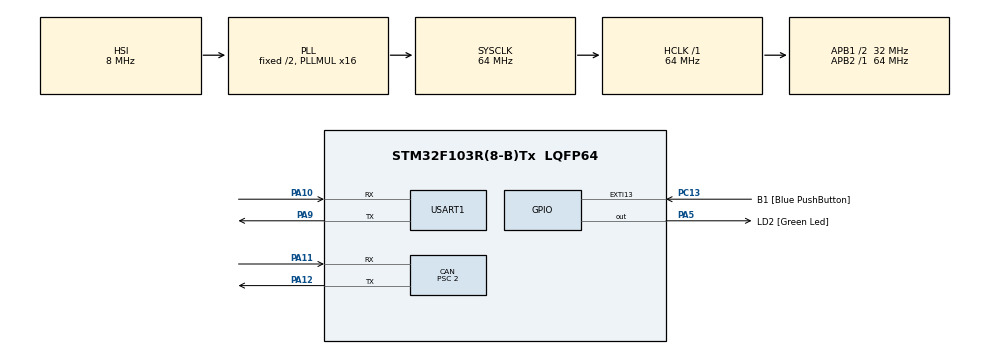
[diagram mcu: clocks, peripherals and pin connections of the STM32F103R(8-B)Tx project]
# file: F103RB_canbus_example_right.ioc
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Mcu.Family=STM32F1
PA2.GPIO_PuPd=GPIO_NOPULL
NVIC.DMA1_Channel5_IRQn=true\:0\:0\:false\:false\:true\:false\:true
Dma.USART1_RX.0.PeriphDataAlignment=DMA_PDATAALIGN_BYTE
PA10.Mode=Asynchronous
CAN.CalculateBaudRate=1000000
PA14.GPIO_Label=TCK
PA3.GPIO_PuPd=GPIO_NOPULL
PA2.GPIO_Speed=GPIO_SPEED_FREQ_LOW
PC13-TAMPER-RTC.Signal=GPXTI13
PA11.Mode=CAN_Activate
PD0-OSC_IN.Signal=RCC_OSC_IN
RCC.APB1CLKDivider=RCC_HCLK_DIV2
PC14-OSC32_IN.Signal=RCC_OSC32_IN
PA3.GPIO_Speed=GPIO_SPEED_FREQ_LOW
CAN.CalculateTimeBit=1000.00
RCC.SYSCLKSource=RCC_SYSCLKSOURCE_PLLCLK
ProjectManager.StackSize=0x400
PD1-OSC_OUT.Signal=RCC_OSC_OUT
PA13.Signal=SYS_JTMS-SWDIO
PA9.Mode=Asynchronous
PA12.Signal=CAN_TX
CAN.BS2=CAN_BS2_7TQ
CAN.Prescaler=2
CAN.BS1=CAN_BS1_8TQ
ProjectManager.TargetToolchain=STM32CubeIDE
PA3.GPIO_Mode=GPIO_MODE_AF_PP
Dma.USART1_RX.0.Direction=DMA_PERIPH_TO_MEMORY
RCC.HCLKFreq_Value=64000000
RCC.APB2TimFreq_Value=64000000
PA9.Signal=USART1_TX
RCC.USBFreq_Value=64000000
PC15-OSC32_OUT.Signal=RCC_OSC32_OUT
RCC.AHBFreq_Value=64000000
Dma.USART1_RX.0.PeriphInc=DMA_PINC_DISABLE
Dma.USART1_RX.0.Priority=DMA_PRIORITY_LOW
NVIC.EXTI15_10_IRQn=true\:0\:0\:false\:false\:true\:true\:true
PA5.Signal=GPIO_Output
board=NUCLEO-F103RB
PC13-TAMPER-RTC.GPIO_ModeDefaultEXTI=GPIO_MODE_IT_FALLING
PC13-TAMPER-RTC.GPIO_Label=B1 [Blue PushButton]
RCC.PLLMUL=RCC_PLL_MUL16
RCC.APB2Freq_Value=64000000
PA5.GPIO_ModeDefaultOutputPP=GPIO_MODE_OUTPUT_PP
PA14.Mode=Serial_Wire
PA5.GPIO_PuPd=GPIO_NOPULL
NVIC.USB_LP_CAN1_RX0_IRQn=true\:0\:0\:false\:false\:true\:true\:true
Dma.USART1_RX.0.MemDataAlignment=DMA_MDATAALIGN_BYTE
Dma.USART1_RX.0.MemInc=DMA_MINC_ENABLE
PA13.Mode=Serial_Wire
Mcu.Name=STM32F103R(8-B)Tx
CAN.CalculateTimeQuantum=62.5
PA2.Signal=USART2_TX
PA13.GPIO_Label=TMS
PB3.Signal=SYS_JTDO-TRACESWO
RCC.SYSCLKFreq_VALUE=64000000
Mcu.Package=LQFP64
PA12.Mode=CAN_Activate
PA5.GPIO_Label=LD2 [Green Led]
PC13-TAMPER-RTC.GPIO_PuPd=GPIO_NOPULL
USART1.VirtualMode=VM_ASYNC
PA2.GPIO_Label=USART_TX
PA11.Signal=CAN_RX
PA14.Signal=SYS_JTCK-SWCLK
PA10.Signal=USART1_RX
ProjectManager.HeapSize=0x200
PA5.GPIO_Speed=GPIO_SPEED_FREQ_LOW
NVIC.PriorityGroup=NVIC_PRIORITYGROUP_4
RCC.APB1TimFreq_Value=64000000
Dma.USART1_RX.0.Mode=DMA_CIRCULAR
Dma.Request0=USART1_RX
RCC.APB1Freq_Value=32000000
Dma.USART1_RX.0.Instance=DMA1_Channel5
PA3.GPIO_Label=USART_RX
PA3.Signal=USART2_RX
PA2.GPIO_Mode=GPIO_MODE_AF_PP
PB3.GPIO_Label=SWO

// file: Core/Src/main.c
/* USER CODE BEGIN Header */
/**
  ******************************************************************************
  * @file           : main.c
  * @brief          : Main program body
  ******************************************************************************
  * @attention
  *
  * <h2><center>&copy; Copyright (c) 2022 STMicroelectronics.
  * All rights reserved.</center></h2>
  *
  * This software component is licensed by ST under BSD 3-Clause license,
  * the "License"; You may not use this file except in compliance with the
  * License. You may obtain a copy of the License at:
  *                        opensource.org/licenses/BSD-3-Clause
  *
  ******************************************************************************
  */
/* USER CODE END Header */
#include "main.h"

/* USER CODE BEGIN PD */
#define LEFT_SIDE_NUCLEO 0
#if ( LEFT_SIDE_NUCLEO == 1)
    // FILTER_ID_LOW is the filter used, for catching packets from the other device
    #define FILTER_ID_LOW   0x104
    // TRANSMITER_STANDARD_ID - the standard ID of this device.
    #define TRANSMITER_STANDARD_ID 0x103
#else
    // FILTER_ID_LOW is the filter used, for catching packets from the other device
    #define FILTER_ID_LOW   0x103
    // TRANSMITER_STANDARD_ID - the standard ID of this device.
    #define TRANSMITER_STANDARD_ID 0x104
#endif

/* USER CODE END PD */

CAN_HandleTypeDef hcan;

UART_HandleTypeDef huart1;
DMA_HandleTypeDef hdma_usart1_rx;

/* USER CODE BEGIN PV */

uint8_t Uart_DMA_in_buffer[4];

/* USER CODE END PV */

void SystemClock_Config(void);
static void MX_GPIO_Init(void);
static void MX_DMA_Init(void);
static void MX_CAN_Init(void);
static void MX_USART1_UART_Init(void);

/* USER CODE BEGIN 0 */
CAN_TxHeaderTypeDef   TxHeader;
uint8_t               TxData[8];

CAN_RxHeaderTypeDef   RxHeader;
uint8_t               RxData[8];

uint32_t              TxMailbox;
int datacheck = 0;
uint8_t     CAN_TxData[8];
uint8_t     CAN_RxData[8];

uint8_t     UART_TxData[32];
uint8_t     UART_RxData[32];

uint8_t count;
uint32_t led_timer;
uint8_t led = 0;

void led_off()
{
//    HAL_GPIO_WritePin(LED_PC_13_GPIO_Port, LED_PC_13_Pin,1);
    HAL_GPIO_WritePin(LD2_GPIO_Port, LD2_Pin,0);
    led = 0;
}

void led_on()
{
//    HAL_GPIO_WritePin(LED_PC_13_GPIO_Port, LED_PC_13_Pin,0);
    HAL_GPIO_WritePin(LD2_GPIO_Port, LD2_Pin,1);
    led = 1;
}

void HAL_CAN_RxFifo0MsgPendingCallback(CAN_HandleTypeDef *hcan)
{
    uint32_t in_len;
    uint32_t out_len=0;
    uint8_t lf_cr[2] = {0xa,0xd};

    count++;
    HAL_CAN_GetRxMessage(hcan, CAN_RX_FIFO0, &RxHeader, CAN_RxData);
//    HAL_GPIO_TogglePin(LED_PC_13_GPIO_Port, LED_PC_13_Pin);
    in_len = RxHeader.DLC;
    out_len = in_len;
    for(int i=0;i<in_len; i++)
    {
        if(CAN_RxData[i] >= 0x20)
        {
            UART_TxData[i] = CAN_RxData[i];
        }
        else
        {
            UART_TxData[i] = CAN_RxData[i] + 0x20;
        }
    }
    HAL_UART_Transmit(&huart1, UART_TxData, out_len, 10);
    HAL_UART_Transmit(&huart1, lf_cr, 2, 10);

    led_on();
    led_timer = HAL_GetTick();
}

void HAL_GPIO_EXTI_Callback(uint16_t GPIO_Pin)
{
    if (GPIO_Pin == GPIO_PIN_13)
    {
        TxData[0] = 100; // 100ms
        TxData[1] = 10;  // repeat 10 times.

        uint8_t temp_uart_tx[] = "blue button this side\r\n";
        HAL_UART_Transmit(&huart1, temp_uart_tx, sizeof(temp_uart_tx), 10);

        HAL_CAN_AddTxMessage(&hcan, &TxHeader, TxData, &TxMailbox);
    }
}

//void HAL_CAN_RxFifo0MsgPendingCallback(CAN_HandleTypeDef *hcan)
//{
//
//}
/*
void HAL_CAN_RxFifo0MsgPendingCallback(CAN_HandleTypeDef *hcan)
{
  if (HAL_CAN_GetRxMessage(hcan, CAN_RX_FIFO0, &RxHeader, RxData) != HAL_OK)
  {
    Error_Handler();
  }

  //  if ((RxHeader.StdId == 0x103))
  if ((RxHeader.DLC == 2))
  {
      datacheck = 1;
  }
}
*/

/* USER CODE END 0 */

int main(void)
{

  /* MCU Configuration--------------------------------------------------------*/

  /* Reset of all peripherals, Initializes the Flash interface and the Systick. */
  HAL_Init();

  /* Configure the system clock */
  SystemClock_Config();

  /* Initialize all configured peripherals */
  MX_GPIO_Init();
  MX_DMA_Init();
  MX_CAN_Init();
  MX_USART1_UART_Init();
  /* USER CODE BEGIN 2 */

  HAL_CAN_Start(&hcan);

  // Activate the notification
  HAL_CAN_ActivateNotification(&hcan, CAN_IT_RX_FIFO0_MSG_PENDING);

  TxHeader.DLC = 1;
  TxHeader.ExtId = 0;
  TxHeader.IDE = CAN_ID_STD;
  TxHeader.RTR = CAN_RTR_DATA;
  TxHeader.StdId = TRANSMITER_STANDARD_ID; // this ID can be 11bit wide. (for left = 0x103)
  TxHeader.TransmitGlobalTime = DISABLE;

  CAN_TxData[0] = 0x73; // = 's' , for start.
  TxHeader.DLC = 2;
  HAL_CAN_AddTxMessage(&hcan, &TxHeader, CAN_TxData, &TxMailbox);
  HAL_UART_Receive_DMA(&huart1, Uart_DMA_in_buffer, 1);//

  /* USER CODE END 2 */

  /* Infinite loop */
  /* USER CODE BEGIN WHILE */
  uint32_t main_tickstart = HAL_GetTick();
#if ( LEFT_SIDE_NUCLEO == 1)
  uint8_t temp_uart_tx[] = "Hello CAN left side\r\n";
#else
  uint8_t temp_uart_tx[] = "Hello CAN right side\r\n";

#endif
  HAL_UART_Transmit(&huart1, temp_uart_tx, sizeof(temp_uart_tx), 10);

  while (1)
  {
      if (datacheck)
      {
          for(int i=0; i< RxData[1]; i++)
          {
//              HAL_GPIO_WritePin(GPIOA, GPIO_PIN_5, GPIO_PIN_SET);
              HAL_GPIO_TogglePin(GPIOA, GPIO_PIN_5);
              HAL_Delay(RxData[0]);
          }
          datacheck = 0;
      }
    /* USER CODE END WHILE */

    /* USER CODE BEGIN 3 */
    if( (HAL_GetTick() - main_tickstart) > 1000 ) // do every 1000ms
    {
//        HAL_CAN_AddTxMessage(&hcan, &TxHeader, CAN_TxData, &TxMailbox);
//        CAN_TxData[0] += 1;
        main_tickstart = HAL_GetTick();
        //HAL_UART_Transmit(&huart1, temp_uart_tx, sizeof(temp_uart_tx), 10);
    }
    if( led && (HAL_GetTick() - led_timer > 100))
    {
//        HAL_GPIO_WritePin(LED_PC_13_GPIO_Port, LED_PC_13_Pin,0);
        led_off();
    }

//    HAL_Delay(1000);
  }
  /* USER CODE END 3 */
}

void SystemClock_Config(void)
{
  RCC_OscInitTypeDef RCC_OscInitStruct = {0};
  RCC_ClkInitTypeDef RCC_ClkInitStruct = {0};

  /** Initializes the RCC Oscillators according to the specified parameters
  * in the RCC_OscInitTypeDef structure.
  */
  RCC_OscInitStruct.OscillatorType = RCC_OSCILLATORTYPE_HSI;
  RCC_OscInitStruct.HSIState = RCC_HSI_ON;
  RCC_OscInitStruct.HSICalibrationValue = RCC_HSICALIBRATION_DEFAULT;
  RCC_OscInitStruct.PLL.PLLState = RCC_PLL_ON;
  RCC_OscInitStruct.PLL.PLLSource = RCC_PLLSOURCE_HSI_DIV2;
  RCC_OscInitStruct.PLL.PLLMUL = RCC_PLL_MUL16;
  if (HAL_RCC_OscConfig(&RCC_OscInitStruct) != HAL_OK)
  {
    Error_Handler();
  }
  /** Initializes the CPU, AHB and APB buses clocks
  */
  RCC_ClkInitStruct.ClockType = RCC_CLOCKTYPE_HCLK|RCC_CLOCKTYPE_SYSCLK
                              |RCC_CLOCKTYPE_PCLK1|RCC_CLOCKTYPE_PCLK2;
  RCC_ClkInitStruct.SYSCLKSource = RCC_SYSCLKSOURCE_PLLCLK;
  RCC_ClkInitStruct.AHBCLKDivider = RCC_SYSCLK_DIV1;
  RCC_ClkInitStruct.APB1CLKDivider = RCC_HCLK_DIV2;
  RCC_ClkInitStruct.APB2CLKDivider = RCC_HCLK_DIV1;

  if (HAL_RCC_ClockConfig(&RCC_ClkInitStruct, FLASH_LATENCY_2) != HAL_OK)
  {
    Error_Handler();
  }
}

static void MX_CAN_Init(void)
{

  hcan.Instance = CAN1;
  hcan.Init.Prescaler = 2;
  hcan.Init.Mode = CAN_MODE_NORMAL;
  hcan.Init.SyncJumpWidth = CAN_SJW_1TQ;
  hcan.Init.TimeSeg1 = CAN_BS1_8TQ;
  hcan.Init.TimeSeg2 = CAN_BS2_7TQ;
  hcan.Init.TimeTriggeredMode = DISABLE;
  hcan.Init.AutoBusOff = DISABLE;
  hcan.Init.AutoWakeUp = DISABLE;
  hcan.Init.AutoRetransmission = DISABLE;
  hcan.Init.ReceiveFifoLocked = DISABLE;
  hcan.Init.TransmitFifoPriority = DISABLE;
  if (HAL_CAN_Init(&hcan) != HAL_OK)
  {
    Error_Handler();
  }
  /* USER CODE BEGIN CAN_Init 2 */
  CAN_FilterTypeDef canfilterconfig;

#if ( LEFT_SIDE_NUCLEO == 1)
  canfilterconfig.FilterActivation = CAN_FILTER_ENABLE;
  canfilterconfig.FilterBank = 10;  // which filter bank to use from the assigned ones
  canfilterconfig.FilterFIFOAssignment = CAN_RX_FIFO0;
  canfilterconfig.FilterIdHigh = 0;
  canfilterconfig.FilterIdLow = FILTER_ID_LOW<<5;
  canfilterconfig.FilterMaskIdHigh = 0;
  canfilterconfig.FilterMaskIdLow = FILTER_ID_LOW<<5;
  canfilterconfig.FilterMode = CAN_FILTERMODE_IDMASK;
  canfilterconfig.FilterScale = CAN_FILTERSCALE_32BIT;
  canfilterconfig.SlaveStartFilterBank = 0;  // how many filters to assign to the CAN1 (master can)
#else
  canfilterconfig.FilterActivation = CAN_FILTER_ENABLE;
  canfilterconfig.FilterBank = 10;  // which filter bank to use from the assigned ones
  canfilterconfig.FilterFIFOAssignment = CAN_RX_FIFO0;
  canfilterconfig.FilterIdHigh = 0;
  canfilterconfig.FilterIdLow = FILTER_ID_LOW<<5;
  canfilterconfig.FilterMaskIdHigh = 0;
  canfilterconfig.FilterMaskIdLow = FILTER_ID_LOW<<5;
  canfilterconfig.FilterMode = CAN_FILTERMODE_IDMASK;
  canfilterconfig.FilterScale = CAN_FILTERSCALE_32BIT;
  canfilterconfig.SlaveStartFilterBank = 0;  // how many filters to assign to the CAN1 (master can)
#endif
/*
#if ( LEFT_SIDE_NUCLEO == 1)
   canfilterconfig.FilterActivation = CAN_FILTER_ENABLE;
   canfilterconfig.FilterBank = 10;  // which filter bank to use from the assigned ones
   canfilterconfig.FilterFIFOAssignment = CAN_FILTER_FIFO0;
   canfilterconfig.FilterIdHigh = 0x104<<5; // 0x104  - this ID should be assigned to the other side.
   canfilterconfig.FilterIdLow = 0;
   canfilterconfig.FilterMaskIdHigh = 0x104<<5;
   canfilterconfig.FilterMaskIdLow = 0x0000;
   canfilterconfig.FilterMode = CAN_FILTERMODE_IDMASK;
   canfilterconfig.FilterScale = CAN_FILTERSCALE_32BIT;
   canfilterconfig.SlaveStartFilterBank = 0;  // how many filters to assign to the CAN
#else
    canfilterconfig.FilterActivation = CAN_FILTER_ENABLE;
    canfilterconfig.FilterBank = 10;  // which filter bank to use from the assigned ones
    canfilterconfig.FilterFIFOAssignment = CAN_FILTER_FIFO0;
    canfilterconfig.FilterIdHigh = 0x103<<5; // 0x104  - this ID should be assigned to the other side.
    canfilterconfig.FilterIdLow = 0;
    canfilterconfig.FilterMaskIdHigh = 0x103<<5;
    canfilterconfig.FilterMaskIdLow = 0x0000;
    canfilterconfig.FilterMode = CAN_FILTERMODE_IDMASK;
    canfilterconfig.FilterScale = CAN_FILTERSCALE_32BIT;
    canfilterconfig.SlaveStartFilterBank = 0;  // how many filters to assign to the CAN
#endif
*/
   HAL_CAN_ConfigFilter(&hcan, &canfilterconfig);
  /* USER CODE END CAN_Init 2 */

}

static void MX_USART1_UART_Init(void)
{

  huart1.Instance = USART1;
  huart1.Init.BaudRate = 115200;
  huart1.Init.WordLength = UART_WORDLENGTH_8B;
  huart1.Init.StopBits = UART_STOPBITS_1;
  huart1.Init.Parity = UART_PARITY_NONE;
  huart1.Init.Mode = UART_MODE_TX_RX;
  huart1.Init.HwFlowCtl = UART_HWCONTROL_NONE;
  huart1.Init.OverSampling = UART_OVERSAMPLING_16;
  if (HAL_UART_Init(&huart1) != HAL_OK)
  {
    Error_Handler();
  }

}

static void MX_DMA_Init(void)
{

  /* DMA controller clock enable */
  __HAL_RCC_DMA1_CLK_ENABLE();

  /* DMA interrupt init */
  /* DMA1_Channel5_IRQn interrupt configuration */
  HAL_NVIC_SetPriority(DMA1_Channel5_IRQn, 0, 0);
  HAL_NVIC_EnableIRQ(DMA1_Channel5_IRQn);

}

static void MX_GPIO_Init(void)
{
  GPIO_InitTypeDef GPIO_InitStruct = {0};

  /* GPIO Ports Clock Enable */
  __HAL_RCC_GPIOC_CLK_ENABLE();
  __HAL_RCC_GPIOD_CLK_ENABLE();
  __HAL_RCC_GPIOA_CLK_ENABLE();
  __HAL_RCC_GPIOB_CLK_ENABLE();

  /*Configure GPIO pin Output Level */
  HAL_GPIO_WritePin(LD2_GPIO_Port, LD2_Pin, GPIO_PIN_RESET);

  /*Configure GPIO pin : B1_Pin */
  GPIO_InitStruct.Pin = B1_Pin;
  GPIO_InitStruct.Mode = GPIO_MODE_IT_FALLING;
  GPIO_InitStruct.Pull = GPIO_NOPULL;
  HAL_GPIO_Init(B1_GPIO_Port, &GPIO_InitStruct);

  /*Configure GPIO pins : USART_TX_Pin USART_RX_Pin */
  GPIO_InitStruct.Pin = USART_TX_Pin|USART_RX_Pin;
  GPIO_InitStruct.Mode = GPIO_MODE_AF_PP;
  GPIO_InitStruct.Speed = GPIO_SPEED_FREQ_LOW;
  HAL_GPIO_Init(GPIOA, &GPIO_InitStruct);

  /*Configure GPIO pin : LD2_Pin */
  GPIO_InitStruct.Pin = LD2_Pin;
  GPIO_InitStruct.Mode = GPIO_MODE_OUTPUT_PP;
  GPIO_InitStruct.Pull = GPIO_NOPULL;
  GPIO_InitStruct.Speed = GPIO_SPEED_FREQ_LOW;
  HAL_GPIO_Init(LD2_GPIO_Port, &GPIO_InitStruct);

  /* EXTI interrupt init*/
  HAL_NVIC_SetPriority(EXTI15_10_IRQn, 0, 0);
  HAL_NVIC_EnableIRQ(EXTI15_10_IRQn);

}

/* USER CODE BEGIN 4 */
void HAL_UART_RxCpltCallback(UART_HandleTypeDef *huart)
{
    static uint16_t in_ptr=0;
    static uint16_t out_ptr=0;
  uint8_t send_length;
  uint8_t lf_cr[2] = {0xa,0xd};
  uint8_t bs_sp[2] = {0x8,0x20};

  /* Prevent unused argument(s) compilation warning */
  UNUSED(huart);
  /* NOTE: This function should not be modified, when the callback is needed,
           the HAL_UART_RxCpltCallback could be implemented in the user file
   */

    UART_RxData[in_ptr++] = Uart_DMA_in_buffer[0];
    if( Uart_DMA_in_buffer[0] >= 0x20 )
    {
        HAL_UART_Transmit(&huart1, Uart_DMA_in_buffer, 1, 10);
        out_ptr++;
    }
    if( Uart_DMA_in_buffer[0] == 0x8 ) // if BS
    {
        HAL_UART_Transmit(&huart1, bs_sp, 1, 10);
        in_ptr--;
        out_ptr--;
    }

    if(in_ptr > 8)
        in_ptr=0;
    if(out_ptr > 8)
        out_ptr=0;
    if(Uart_DMA_in_buffer[0] == 0xd)
    {
        send_length = out_ptr;
  //    HAL_UART_Transmit(&huart2, Uart_Rx_buffer, send_length, 10);
        HAL_UART_Transmit(&huart1, lf_cr, 2, 10);
        in_ptr = 0;
        out_ptr = 0;
//        if(send_length>8)
//            send_length = 8;
        for(int i=0;i<send_length;i++)
        {
            if(i>=8)
                break;
            CAN_TxData[i] = UART_RxData[i];
        }

        TxHeader.DLC = send_length; //Specifies the length of the frame that will be transmitted
        HAL_CAN_AddTxMessage(&hcan, &TxHeader, CAN_TxData, &TxMailbox);

    }

}
/* USER CODE END 4 */

void Error_Handler(void)
{
  __disable_irq();
  while (1)
  {
  }
}

/************************ (C) COPYRIGHT STMicroelectronics *****END OF FILE****/
